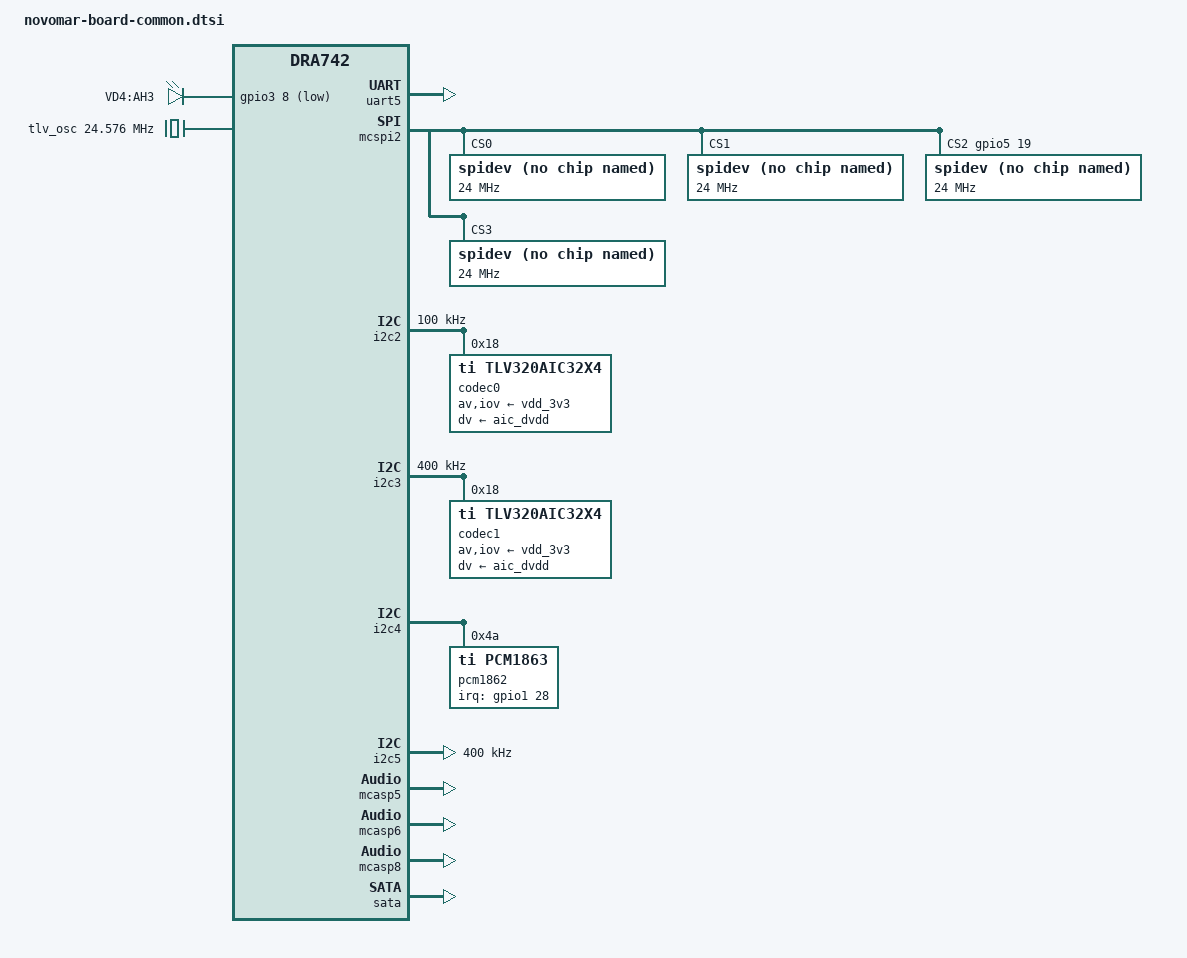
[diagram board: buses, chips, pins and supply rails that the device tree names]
/*
 * Copyright (C) 2016-2017 Novomar Incorporated - http://www.novomar-spb.ru/
 *
 * This program is free software; you can redistribute it and/or modify
 * it under the terms of the GNU General Public License version 2 as
 * published by the Free Software Foundation.
 */

/ {
	compatible = "ti,am5728-evm", "ti,am572x-beagle-x15", "ti,am5728", "ti,dra742", "ti,dra74", "ti,dra7";	

	/* Novomar bindings */

	/* GPIO leds */
	leds {
		compatible = "gpio-leds";
		/*led@0 {
			label = "VD1:AH3";
			gpios = <&gpio3 16 GPIO_ACTIVE_HIGH>;
			linux,default-trigger = "heartbeat";
			default-state = "off";
		};

		led@1 {
			label = "VD2:AF1";
			gpios = <&gpio3 20 GPIO_ACTIVE_HIGH>;
			linux,default-trigger = "cpu0";
			default-state = "off";
		};

		led@2 {
			label = "VD3:AH4";
			gpios = <&gpio3 11 GPIO_ACTIVE_HIGH>;
			linux,default-trigger = "mmc2";
			default-state = "off";
		};*/

		/* DVR-On indicator */
		led@3 {
			label = "VD4:AH3";
			gpios = <&gpio3 8 GPIO_ACTIVE_LOW>;
			linux,default-trigger = "default-on";
			default-state = "off";
		};
	};

	/* External oscillator on microphone board */
	tlv_osc: tlv_osc {
		#clock-cells = <0>;
		compatible = "fixed-clock";
		clock-frequency = <24576000>;
	};

	/* PCM5102a codec */
	pcm5102a: pcm5102a {
		#sound-dai-cells = <0>;
		compatible = "ti,pcm5102a";
	};

	/* Line-in */
	sound0: sound@0 {
		compatible = "simple-audio-card";
		simple-audio-card,name = "PCM1862";
		simple-audio-card,widgets =
			"Line", "Line In Jack 1",
			"Line", "Line In Jack 2",
			"Line", "Line In Jack 3",
			"Line", "Line In Jack 4";
		simple-audio-card,routing =
			"Line In Jack 1", "VINL1",
			"Line In Jack 1", "VINR1",
			"Line In Jack 2", "VINL2",
			"Line In Jack 2", "VINR2",
			"Line In Jack 3", "VINL3",
			"Line In Jack 3", "VINR3",
			"Line In Jack 4", "VINL4",
			"Line In Jack 4", "VINR4";
		simple-audio-card,format = "i2s";
		simple-audio-card,bitclock-master = <&sound0_codec>;
		simple-audio-card,frame-master = <&sound0_codec>;

		sound0_cpu: simple-audio-card,cpu {
			sound-dai = <&mcasp5>;
	    		system-clock-direction = "out";
		};

		sound0_codec: simple-audio-card,codec {
			sound-dai = <&pcm1862>;
			
			//Need this here otherwise recording won't work probably because
			//some davinci-mcasp.c setup function doesn't get called. For now
			//lets plug in the frequency of the XTAL attached to the PCM1863.
			//This value will get passed to our codec's pcm186x_set_sysclk()
			//function.
			system-clock-frequency = <24576000>;
		};
	};

	/* Left microphone */
	left_mic: sound@1 {
		compatible = "simple-audio-card";
		simple-audio-card,name = "LMicrophone";
		simple-audio-card,widgets =
			"Line", "Line In";
		simple-audio-card,routing =
			"IN1_L",	"Line In",
			"IN1_R",	"Line In";
		simple-audio-card,format = "i2s";
		simple-audio-card,bitclock-master = <&sound1_codec>;
		simple-audio-card,frame-master = <&sound1_codec>;

		sound1_cpu: simple-audio-card,cpu {
			sound-dai = <&mcasp4>;
			system-clock-direction = "out";
		};

		sound1_codec: simple-audio-card,codec {
			sound-dai = <&codec0>;
		};
	};

	/* Right microphone */
	right_mic: sound@2 {
		compatible = "simple-audio-card";
		simple-audio-card,name = "RMicrophone";
		simple-audio-card,widgets =
			"Line", "Line In";
		simple-audio-card,routing =
			"IN1_L",	"Line In",
			"IN1_R",	"Line In";
		simple-audio-card,format = "i2s";
		simple-audio-card,bitclock-master = <&sound2_codec>;
		simple-audio-card,frame-master = <&sound2_codec>;

		sound2_cpu: simple-audio-card,cpu {
			sound-dai = <&mcasp8>;
			system-clock-direction = "out";
		};

		sound2_codec: simple-audio-card,codec {
			sound-dai = <&codec1>;
		};
	};

	/* Audio output */
	playback_card:sound@3 {
	  compatible = "simple-audio-card";
	  simple-audio-card,name = "PCM5102a";
	  simple-audio-card,format = "i2s";
	  simple-audio-card,cpu {
	    sound-dai = <&mcasp6>;
	    bitclock-master;
	    bitclock-inversion;
	    frame-master;
	    system-clock-frequency = <24576000>;
	    system-clock-direction = "out";
	  };

	  simple-audio-card,codec {
	    sound-dai = <&pcm5102a>;  
	  };
	  
	};
};

/* UART nodes */
&uart5 {
	status = "okay";
	pinctrl-names = "default";
	pinctrl-0 = <&uart5_pins_default>;
};

/* GPIO nodes */
&gpio3 {
	pinctrl-names = "default";
	pinctrl-0 = <&gpio3_pins_default>;
	ti,no-reset-on-init;
	ti,no-idle-on-init;
};


/* SPI nodes  */
&mcspi2{
	status = "okay";
	#address-cells = <1>;
    #size-cells = <0>;
	pinctrl-names = "default";
	pinctrl-0 = <&spi2_pins_default>;

	ti,spi-num-cs = <4>;
	ti,pindir-d0-out-d1-in;

	cs-gpios = <0>, <0>, <&gpio5 19 0>, <0>;

	spidev@0{
		#address-cells = <1>;
		#size-cells = <0>;
		compatible = "rohm,dh2228fv";
		reg = <0>;
		//spi-cs-high;
		spi-max-frequency = <24000000>;
	};
	spidev@1{
		#address-cells = <1>;
		#size-cells = <0>;
		compatible = "rohm,dh2228fv";
		reg = <1>;
		//spi-cs-high;
		spi-max-frequency = <24000000>;
	};
	spidev@2{
		#address-cells = <1>;
		#size-cells = <0>;
		compatible = "rohm,dh2228fv";
		reg = <2>;
		//spi-cs-high;
		spi-max-frequency = <24000000>;
	};
	spidev@3{
		#address-cells = <1>;
		#size-cells = <0>;
		compatible = "rohm,dh2228fv";
		reg = <3>;
		//spi-cs-high;
		spi-max-frequency = <24000000>;
	};
};

/* I2C2 bus */
&i2c2 {
    	status = "okay";
	clock-frequency = <100000>;
	pinctrl-names = "default";
	pinctrl-0 = <&i2c2_pins_default>;

	/* Microphone codec tlv320adc3101. Second channel */
	codec0: l_tlv320adc3101@18 {
		#sound-dai-cells = <0>;
		compatible = "ti,tlv320aic32x4";
		reg = <0x18>;
		clocks = <&tlv_osc>;
		clock-names = "mclk";		
		av-supply = <&vdd_3v3>;
		iov-supply = <&vdd_3v3>;
		dv-supply = <&aic_dvdd>;

		assigned-clocks = <&clkoutmux2_clk_mux>, <&timer7_gfclk_mux>, <&clkoutmux0_clk_mux>;
		assigned-clock-parents = <&sys_clk2_dclk_div>, <&clkoutmux0_clk_mux>, <&sys_clk1_dclk_div>;

		status = "okay";
	};
};

/* I2C3 bus */
&i2c3 {
	clock-frequency = <400000>;
	pinctrl-names = "default";
	pinctrl-0 = <&i2c3_pins_default>;
	status = "okay";

	/* Microphone codecs tlv320adc3101. First channel */
	codec1: r_tlv320adc3101@18 {
		#sound-dai-cells = <0>;
		compatible = "ti,tlv320aic32x4";
		reg = <0x18>;
		clocks = <&tlv_osc>;
		clock-names = "mclk";		
		av-supply = <&vdd_3v3>;
		iov-supply = <&vdd_3v3>;
		dv-supply = <&aic_dvdd>;

		assigned-clocks = <&clkoutmux2_clk_mux>, <&timer7_gfclk_mux>, <&clkoutmux0_clk_mux>;
		assigned-clock-parents = <&sys_clk2_dclk_div>, <&clkoutmux0_clk_mux>, <&sys_clk1_dclk_div>;

		status = "okay";
	};

};

/* I2C4 bus */
&i2c4 {
	/* Line-in codec pcm1862 */
	pcm1862: pcm1862@4a {
		#sound-dai-cells = <0>;
		status = "okay";
		compatible = "ti,pcm1863";
		reg = <0x4a>;
		interrupts-extended = <&gpio1 28 IRQ_TYPE_EDGE_FALLING>;
	};
};

/* General purpose i2c bus */
&i2c5 {
	clock-frequency = <400000>;
	pinctrl-names = "default";
	pinctrl-0 = <&i2c5_pins_default>;
	status = "okay";
};

/* McASP nodes  */
/* Audio input from line-in*/
&mcasp5 {
	#sound-dai-cells = <0>;
	assigned-clocks = <&mcasp5_ahclkx_mux>;
	assigned-clock-parents = <&sys_clkin2>;
	pinctrl-names = "default"; 
	pinctrl-0 = <&mcasp5_pins_default>; 
	status = "okay";

	op-mode = <0>;	/* MCASP_IIS_MODE */
	tdm-slots = <2>;
	/* 4 serializers */
	serial-dir = <	/* 0: INACTIVE, 1: TX, 2: RX */
		0 2 0 0
	>;
	//tx-num-evt = <32>;
	rx-num-evt = <32>;
};

/* Audio output to the PCM5102a */
&mcasp6 {
	#sound-dai-cells = <0>;
	assigned-clocks = <&abe_dpll_sys_clk_mux>;
	assigned-clock-parents = <&sys_clkin2>;
	pinctrl-names = "default"; 
	pinctrl-0 = <&mcasp6_pins_default>;
	status = "okay";

	op-mode = <0>;	/* MCASP_IIS_MODE */
	tdm-slots = <2>;
	/* 4 serializers */
	serial-dir = <	/* 0: INACTIVE, 1: TX, 2: RX */
		0 1 0 0
	>;
	tx-num-evt = <32>;
	//rx-num-evt = <32>;
};

/* Audio input from Port A*/
&mcasp8 {
	#sound-dai-cells = <0>;
	assigned-clocks = <&abe_dpll_sys_clk_mux>;
	assigned-clock-parents = <&sys_clkin2>;
	pinctrl-names = "default"; 
	pinctrl-0 = <&mcasp8_pins_default>; 
	status = "okay";

	op-mode = <0>;	/* MCASP_IIS_MODE */
	tdm-slots = <2>;
	/* 4 serializers */
	serial-dir = <	/* 0: INACTIVE, 1: TX, 2: RX */
		2 0 0 0
	>;
	//tx-num-evt = <32>;
	rx-num-evt = <32>;
};

/* Sata  nodes  */
&sata {
	pinctrl-names = "default";
	pinctrl-0 = <&sata_pins_default>;
	status = "okay";
};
